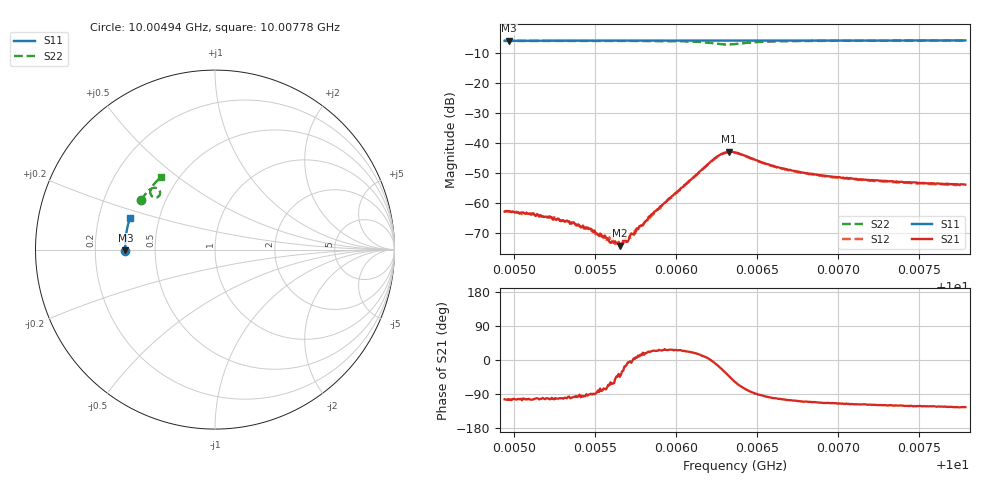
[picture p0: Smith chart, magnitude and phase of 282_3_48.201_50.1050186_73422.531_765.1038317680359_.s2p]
#  HZ  S  RI  R  50.00
! Rohde & Schwarz Vector Network Analyzer
! Rohde-Schwarz,ZNB20-2Port,1311601062101988,3.16
! Created: UTC 3/20/2024, 11:48:43 AM
! freq[Hz]  re:S11  im:S11  re:S21  im:S21  re:S12  im:S12  re:S22  im:S22
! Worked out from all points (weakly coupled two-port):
!   401 points, 10.00494 GHz to 10.00778 GHz, reference 50 ohm
!   highest |S21| = -42.94 dB at 10.00633 GHz (marker M1); lowest = -74.2 dB at 10.00565 GHz (marker M2)
!   lowest |S11| = -6.0 dB at 10.00497 GHz (marker M3), VSWR 3.00, Z = 16.7 - j0.185 ohm
!   |S11| at or under -10 dB: nowhere
!   |S22| runs from -7.3 to -6.0 dB; largest |S21 - S12| = 0.00043
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1.0004941e10  -0.4994 -0.00596  -0.000171 -0.000699  -0.000148 -0.0007  -0.4112 0.2746
1.000497e10  -0.4994 -0.00417  -0.000192 -0.000702  -0.000128 -0.000709  -0.4102 0.2761
1.0005105e10  -0.4998 0.00476  -0.000163 -0.000615  -0.000106 -0.000662  -0.4053 0.2843
1.0005218e10  -0.4999 0.012  -0.000142 -0.000581  -8.52e-05 -0.000559  -0.4008 0.2909
1.0005368e10  -0.4999 0.0217  -5.99e-05 -0.000475  -2.12e-05 -0.000457  -0.3948 0.2998
1.0005417e10  -0.4998 0.025  -3.05e-05 -0.000391  -1.22e-05 -0.00037  -0.3925 0.3028
1.0005467e10  -0.4998 0.0282  -4.08e-06 -0.000376  3.98e-06 -0.000343  -0.3901 0.3059
1.0005567e10  -0.4995 0.0347  5.66e-05 -0.000258  7.61e-05 -0.000217  -0.3856 0.3119
1.0005602e10  -0.4996 0.037  0.000103 -0.000203  0.00014 -0.000173  -0.3837 0.3141
1.0005652e10  -0.4994 0.0403  0.00014 -0.000137  0.00016 -0.000104  -0.3812 0.3172
1.0005695e10  -0.4991 0.0431  0.000219 -4.59e-05  0.000268 -4.49e-05  -0.3787 0.3199
1.0005716e10  -0.499 0.0444  0.000287 -1.84e-05  0.000259 -1.54e-06  -0.3776 0.3212
1.0005759e10  -0.4989 0.047  0.000374 4.31e-05  0.000374 9.55e-05  -0.3749 0.324
1.0005894e10  -0.4982 0.0558  0.000728 0.00037  0.000724 0.000365  -0.365 0.3329
1.0006235e10  -0.4955 0.0778  0.00542 -0.000671  0.00531 -0.000375  -0.3091 0.3294
1.0006284e10  -0.495 0.0808  0.00599 -0.00285  0.00597 -0.00249  -0.3065 0.3093
1.0006327e10  -0.4947 0.0831  0.00516 -0.00492  0.00524 -0.00454  -0.3176 0.2941
1.0006363e10  -0.4944 0.0854  0.0037 -0.00588  0.00392 -0.00559  -0.3317 0.2895
1.0006626e10  -0.4923 0.1023  -0.000829 -0.00385  -0.000644 -0.00382  -0.3589 0.3316
1.0006839e10  -0.4898 0.1157  -0.00111 -0.00284  -0.000943 -0.00282  -0.3495 0.3518
1.0007315e10  -0.4828 0.1457  -0.00111 -0.002  -0.00101 -0.00198  -0.3255 0.3805
1.0007784e10  -0.474 0.1747  -0.00114 -0.00167  -0.00105 -0.0017  -0.3018 0.4026
